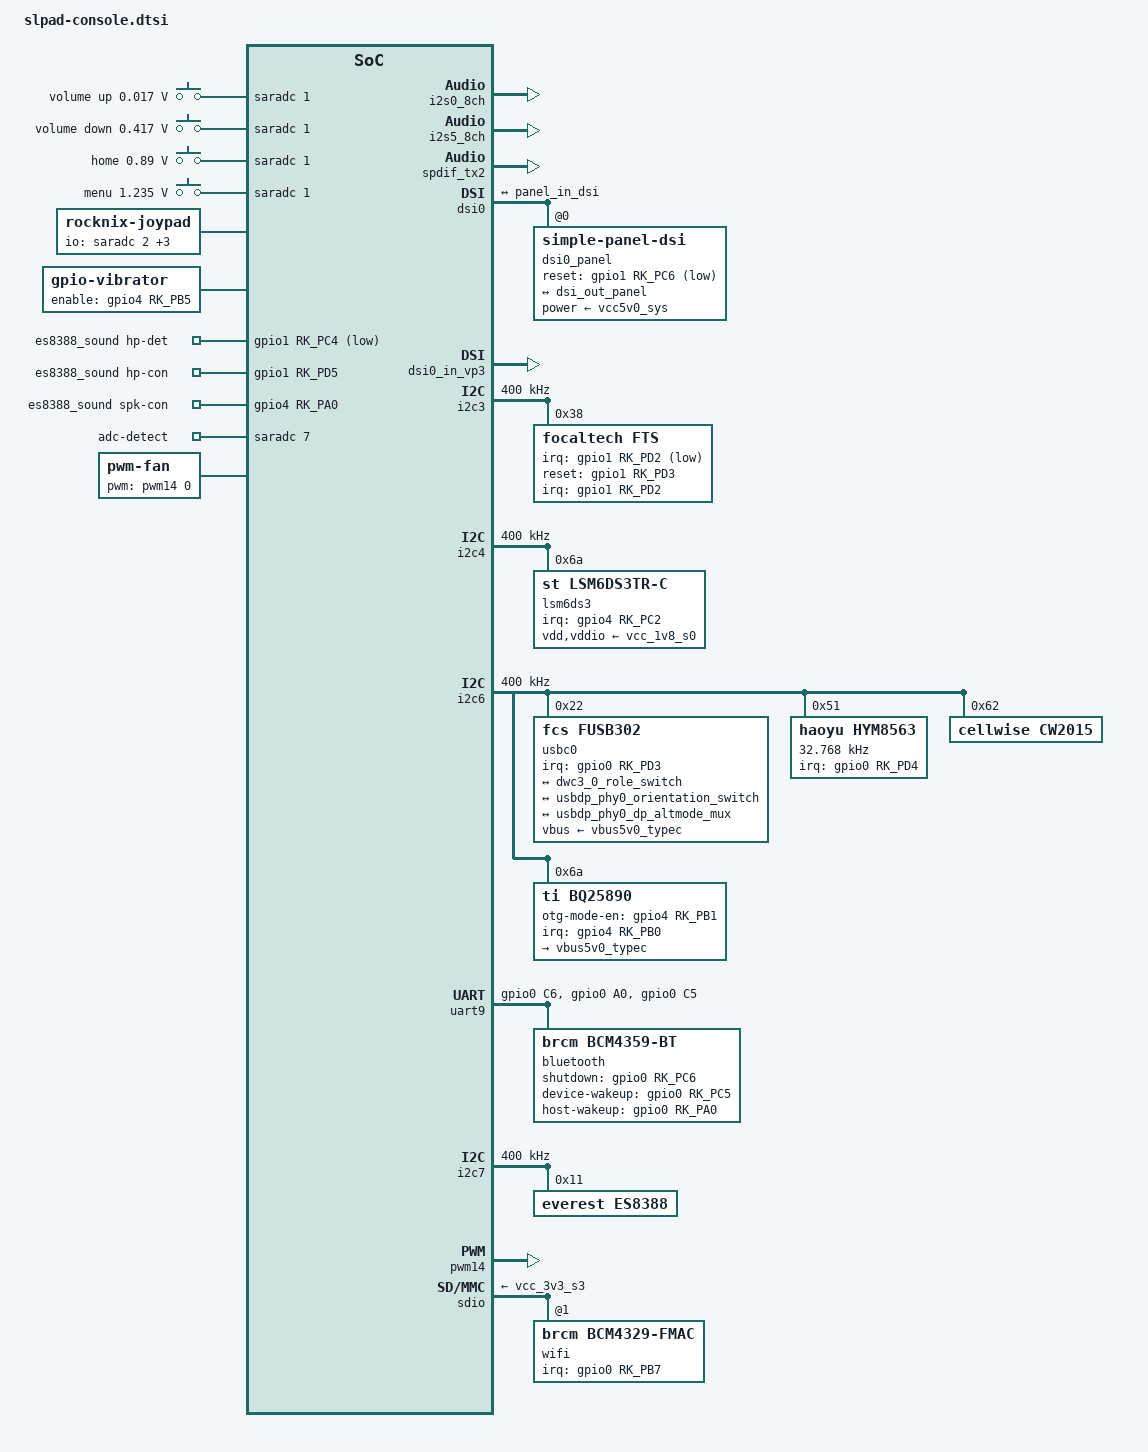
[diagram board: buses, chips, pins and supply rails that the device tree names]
// SPDX-License-Identifier: (GPL-2.0+ OR MIT)
/* SLPad console peripherals applied after the official 6.12 core. */
/ {
	adc_keys: adc-keys {
		compatible = "adc-keys";
		io-channels = <&saradc 1>;
		io-channel-names = "buttons";
		keyup-threshold-microvolt = <1800000>;
		poll-interval = <100>;

		vol-up-key {
			label = "volume up";
			linux,code = <KEY_VOLUMEUP>;
			press-threshold-microvolt = <17000>;
		};

		vol-down-key {
			label = "volume down";
			linux,code = <KEY_VOLUMEDOWN>;
			press-threshold-microvolt = <417000>;
		};

		home-key {
			label = "home";
			linux,code = <BTN_MODE>;
			press-threshold-microvolt = <890000>;
		};

		menu-key {
			label = "menu";
			linux,code = <KEY_APPSELECT>;
			press-threshold-microvolt = <1235000>;
		};
	};
};

/ {
	joypad: slpad-joypad {
		compatible = "rocknix-joypad";
		poll-interval = <10>;
		status = "okay";

		joypad-name = "Microsoft X-Box 360 pad";
		joypad-vendor = <0x045e>;
		joypad-product = <0x028e>;
		joypad-revision = <0x0503>;

		/* Analog sticks */
		io-channels = <&saradc 2>, <&saradc 3>, <&saradc 4>, <&saradc 5>;
		io-channel-names = "key-X", "key-Y", "key-RX", "key-RY";
		button-adc-scale = <4>;
		button-adc-deadzone = <150>;
		button-adc-fuzz = <32>;
		button-adc-flat = <32>;
		abs_x-p-tuning = <350>;
		abs_x-n-tuning = <350>;
		abs_y-p-tuning = <350>;
		abs_y-n-tuning = <350>;
		abs_rx-p-tuning = <350>;
		abs_rx-n-tuning = <350>;
		abs_ry-p-tuning = <350>;
		abs_ry-n-tuning = <350>;
		invert-absx;
		invert-absy;

		/* gpio pincontrol setup */
		pinctrl-names = "default";
		pinctrl-0 = <&btn_pins>;

		/* gpio button auto repeat set value : default disable */
		/*
			autorepeat;
		*/

		/*
						*** SLPad switch layout ***
		|-------------------------------------------------------|
		| sw15(b4) sw21(b6)                   sw20(b7) sw16(b5) |
		|-------------------------------------------------------|
		|        sw19(b12)|-------------------| sw22(b13)       |
		|                 |                   |                 |
		|     sw1(b8)     |                   |     sw8(b2)     |
		|sw3(b10) sw4(b11)|   OLED Display    | sw7(b3) sw5(b1) |
		|     sw2(b9)     |                   |     sw6(b0)     |
		|    sw11(b14)    |                   |    sw12(b15)    |
		|  menu(sys)      |-------------------|      home(sys)  |
		|                                                       |
		|-------------------------------------------------------|
		*/

		sw1 {
				gpios = <&gpio3 RK_PB0 GPIO_ACTIVE_LOW>;
				label = "GPIO DPAD-UP";
				linux,code = <ABS_HAT0Y>;
				linux,input-type = <EV_ABS>;
				linux,input-value = <0xffffffff>; /* -1 */
		};
		sw2 {
				gpios = <&gpio3 RK_PB1 GPIO_ACTIVE_LOW>;
				label = "GPIO DPAD-DOWN";
				linux,code = <ABS_HAT0Y>;
				linux,input-type = <EV_ABS>;
				linux,input-value= <1>;
		};
		sw3 {
				gpios = <&gpio3 RK_PB2 GPIO_ACTIVE_LOW>;
				label = "GPIO DPAD-LEFT";
				linux,code = <ABS_HAT0X>;
				linux,input-type = <EV_ABS>;
				linux,input-value = <0xffffffff>; /* -1 */
		};
		sw4 {
				gpios = <&gpio3 RK_PB3 GPIO_ACTIVE_LOW>;
				label = "GPIO DPAD-RIGHT";
				linux,code = <ABS_HAT0X>;
				linux,input-type = <EV_ABS>;
				linux,input-value= <1>;
		};
		sw5 {
				gpios = <&gpio3 RK_PA1 GPIO_ACTIVE_LOW>;
				label = "GPIO KEY BTN-A";
				linux,code = <BTN_SOUTH>;
		};
		sw6 {
				gpios = <&gpio3 RK_PA0 GPIO_ACTIVE_LOW>;
				label = "GPIO BTN-B";
				linux,code = <BTN_EAST>;
		};
		sw7 {
				gpios = <&gpio3 RK_PA2 GPIO_ACTIVE_LOW>;
				label = "GPIO BTN-Y";
				linux,code = <BTN_WEST>;
		};
		sw8 {
				gpios = <&gpio3 RK_PA3 GPIO_ACTIVE_LOW>;
				label = "GPIO BTN-X";
				linux,code = <BTN_NORTH>;
		};
		sw11 {
				gpios = <&gpio3 RK_PA6 GPIO_ACTIVE_HIGH>;
				label = "GPIO BTN-THUMBR";
				linux,code = <BTN_THUMBR>;
		};
		sw12 {
				gpios = <&gpio3 RK_PB6 GPIO_ACTIVE_HIGH>;
				label = "GPIO BTN-THUMBL";
				linux,code = <BTN_THUMBL>;
		};
		sw15 {
				gpios = <&gpio3 RK_PB4 GPIO_ACTIVE_LOW>;
				label = "GPIO BTN-L";
				linux,code = <BTN_TL>;
		};
		sw16 {
				gpios = <&gpio3 RK_PA4 GPIO_ACTIVE_LOW>;
				label = "GPIO BTN-R";
				linux,code = <BTN_TR>;
		};
		sw19 {
				gpios = <&gpio3 RK_PB7 GPIO_ACTIVE_LOW>;
				label = "GPIO BTN-SELECT";
				linux,code = <BTN_SELECT>;
		};
		sw20 {
				gpios = <&gpio3 RK_PA5 GPIO_ACTIVE_LOW>;
				label = "GPIO BTN-ZR";
				linux,code = <ABS_RZ>;
				linux,input-type = <EV_ABS>;
				linux,input-value= <255>;
		};
		sw21 {
				gpios = <&gpio3 RK_PB5 GPIO_ACTIVE_LOW>;
				label = "GPIO BTN-ZL";
				linux,code = <ABS_Z>;
				linux,input-type = <EV_ABS>;
				linux,input-value= <255>;
		};
		sw22 {
				gpios = <&gpio3 RK_PA7 GPIO_ACTIVE_LOW>;
				label = "GPIO BTN-START";
				linux,code = <BTN_START>;
		};
	};
};

/ {
	vibrator {
		compatible = "gpio-vibrator";
		status = "okay";
		enable-gpios = <&gpio4 RK_PB5 GPIO_ACTIVE_HIGH>;
	};
};

/ {
	es8388_sound: es8388-sound {
		status = "okay";
		compatible = "rockchip,multicodecs-card";
		rockchip,card-name = "rockchip-es8388";
		hp-det-gpio = <&gpio1 RK_PC4 GPIO_ACTIVE_LOW>;
		io-channels = <&saradc 7>;
		io-channel-names = "adc-detect";
		keyup-threshold-microvolt = <1800000>;
		poll-interval = <100>;

		hp-con-gpio = <&gpio1 RK_PD5 GPIO_ACTIVE_HIGH>;
		/* User-confirmed AW8733: complete BSP one-wire mode 3 on GPIO4_A0. */
		spk-con-gpio = <&gpio4 RK_PA0 GPIO_ACTIVE_HIGH>;
		rockchip,aw8733-mode = <3>;
		rockchip,format = "i2s";
		rockchip,mclk-fs = <256>;
		rockchip,cpu = <&i2s0_8ch>;
		rockchip,codec = <&es8388>;
		rockchip,audio-routing =
			"Headphone", "LOUT1",
			"Headphone", "ROUT1",
			"Speaker", "LOUT2",
			"Speaker", "ROUT2",
			"Headphone", "Headphone Power",
			"Headphone", "Headphone Power",
			"Speaker", "Speaker Power",
			"Speaker", "Speaker Power",
			"LINPUT1", "Main Mic",
			"LINPUT2", "Main Mic",
			"RINPUT1", "Headset Mic",
			"RINPUT2", "Headset Mic";
		pinctrl-names = "default";
		pinctrl-0 = <&hp_det>;
		play-pause-key {
			label = "playpause";
			linux,code = <KEY_PLAYPAUSE>;
			press-threshold-microvolt = <2000>;
		};
	};
};

/ {
	fan: pwm-fan {
		compatible = "pwm-fan";
		#cooling-cells = <2>;
		pwms = <&pwm14 0 50000 0>;
		cooling-levels = <0 70 130 180 200 255>;
	};
};

/ {
	hdmi0_sound: hdmi0-sound {
		status = "okay";
		compatible = "rockchip,hdmi";
		rockchip,mclk-fs = <128>;
		rockchip,card-name = "rockchip-hdmi0";
		rockchip,cpu = <&i2s5_8ch>;
		rockchip,codec = <&hdmi0>;
		rockchip,jack-det;
	};
};

/ {
	hdmi1_sound: hdmi1-sound {
		status = "disabled";
		compatible = "rockchip,hdmi";
		rockchip,mclk-fs = <128>;
		rockchip,card-name = "rockchip-hdmi1";
		rockchip,cpu = <&i2s6_8ch>;
		rockchip,codec = <&hdmi1>;
		rockchip,jack-det;
	};
};

/ {
	dp0_sound: dp0-sound {
		status = "okay";
		compatible = "rockchip,hdmi";
		rockchip,card-name= "rockchip,dp0";
		rockchip,mclk-fs = <512>;
		rockchip,cpu = <&spdif_tx2>;
		rockchip,codec = <&dp0 1>;
		rockchip,jack-det;
	};
};

/ {
	dp1_sound: dp1-sound {
		status = "disabled";
		compatible = "rockchip,hdmi";
		rockchip,card-name= "rockchip,dp1";
		rockchip,mclk-fs = <512>;
		rockchip,cpu = <&spdif_tx5>;
		rockchip,codec = <&dp1 1>;
		rockchip,jack-det;
	};
};

/ {
	spdif_tx0_dc: spdif-tx0-dc {
		status = "disabled";
		compatible = "linux,spdif-dit";
		#sound-dai-cells = <0>;
	};
};

/ {
	spdif_tx0_sound: spdif-tx0-sound {
		status = "disabled";
		compatible = "simple-audio-card";
		simple-audio-card,mclk-fs = <128>;
		simple-audio-card,name = "rockchip,spdif-tx0";
		simple-audio-card,cpu {
			sound-dai = <&spdif_tx0>;
		};
		simple-audio-card,codec {
			sound-dai = <&spdif_tx0_dc>;
		};
	};
};

/ {
	spdif_tx1_dc: spdif-tx1-dc {
		status = "disabled";
		compatible = "linux,spdif-dit";
		#sound-dai-cells = <0>;
	};
};

/ {
	spdif_tx1_sound: spdif-tx1-sound {
		status = "disabled";
		compatible = "simple-audio-card";
		simple-audio-card,mclk-fs = <128>;
		simple-audio-card,name = "rockchip,spdif-tx1";
		simple-audio-card,cpu {
			sound-dai = <&spdif_tx1>;
		};
		simple-audio-card,codec {
			sound-dai = <&spdif_tx1_dc>;
		};
	};
};

&i2s0_8ch {
	status = "okay";
	pinctrl-0 = <&i2s0_lrck
		     &i2s0_sclk
		     &i2s0_sdi0
		     &i2s0_sdo0>;
};

&i2s5_8ch {
	status = "okay";
};

&spdif_tx2 {
	status = "okay";
};

&dsi0 {
	status = "okay";
	//rockchip,lane-rate = <1000>;
	dsi0_panel: panel@0 {
		status = "okay";
		compatible = "simple-panel-dsi";
		reg = <0>;
		power-supply = <&vcc5v0_sys>;
		cmd_later_reset = <0>;
		//backlight = <&backlight>;

		reset-gpios = <&gpio1 RK_PC6 GPIO_ACTIVE_LOW>;

		pinctrl-names = "default";
		pinctrl-0 = <&lcd_rst_gpio>;
		reset-delay-ms = <20>;
		init-delay-ms = <20>;
		enable-delay-ms = <120>;
		prepare-delay-ms = <120>;
		unprepare-delay-ms = <10>;
		disable-delay-ms = <60>;
		width-mm = <121>;
		height-mm = <68>;
		dsi,flags = <(MIPI_DSI_MODE_VIDEO | MIPI_DSI_MODE_VIDEO_BURST |
			MIPI_DSI_MODE_LPM)>;
		dsi,format = <MIPI_DSI_FMT_RGB888>;
		dsi,lanes  = <4>;
		panel-init-sequence = [
			15 00 02 FE 0E
			15 00 02 4B 00
			15 00 02 4C 0F
			15 00 02 4D 20
			15 00 02 4E 40
			15 00 02 4F 60
			15 00 02 50 A0
			15 00 02 51 C0
			15 00 02 52 E0
			15 00 02 53 FF

			15 00 02 FE 0D
			15 00 02 18 08
			15 00 02 42 01
			15 00 02 08 41
			15 00 02 46 02
			15 00 02 72 09

			15 00 02 FE 0A
			15 00 02 24 17
			15 00 02 04 07
			15 00 02 1A 0C
			15 00 02 0F 44

			15 00 02 FE 04
			15 00 02 00 0C
			15 00 02 0A E6
			15 00 02 0B 8C
			15 00 02 1A 12
			15 00 02 29 93
			15 00 02 2A 93
			15 00 02 2F 02
			15 00 02 31 02
			15 00 02 33 05
			15 00 02 37 2D
			15 00 02 38 3D
			15 00 02 3A 1E
			15 00 02 3B 1E
			15 00 02 3D 27
			15 00 02 3F 80
			15 00 02 40 40
			15 00 02 41 E0
			15 00 02 4F 3F
			15 00 02 50 1E

			15 00 02 FE 06
			15 00 02 00 CC
			15 00 02 05 05
			15 00 02 07 A2
			15 00 02 08 CC
			15 00 02 0D 03
			15 00 02 0F A2
			15 00 02 32 CC
			15 00 02 37 05
			15 00 02 39 83
			15 00 02 3A CC
			15 00 02 41 04
			15 00 02 43 83
			15 00 02 44 CC
			15 00 02 49 05
			15 00 02 4B A2
			15 00 02 4C CC
			15 00 02 51 03
			15 00 02 4B A2
			15 00 02 4C CC
			15 00 02 51 03
			15 00 02 53 A2
			15 00 02 75 CC
			15 00 02 7A 03
			15 00 02 7C 83
			15 00 02 7D CC
			15 00 02 82 02
			15 00 02 84 83
			15 00 02 85 EC
			15 00 02 86 0F
			15 00 02 87 FF
			15 00 02 88 00
			15 00 02 8A 02
			15 00 02 8C A2
			15 00 02 8D EA
			15 00 02 8E 01
			15 00 02 8F E8
			15 00 02 90 0A
			15 00 02 92 06
			15 00 02 93 A0
			15 00 02 94 A8
			15 00 02 95 EC
			15 00 02 96 0F
			15 00 02 97 FF
			15 00 02 98 00
			15 00 02 9A 02
			15 00 02 9C A2
			15 00 02 AC 04
			15 00 02 B1 12
			15 00 02 B2 17
			15 00 02 B3 17
			15 00 02 B4 17
			15 00 02 B5 17
			15 00 02 B6 11
			15 00 02 B7 08
			15 00 02 B8 09
			15 00 02 B9 06
			15 00 02 BA 07
			15 00 02 BB 17
			15 00 02 BC 17
			15 00 02 BD 17
			15 00 02 BE 17
			15 00 02 BF 17
			15 00 02 C0 17
			15 00 02 C1 17
			15 00 02 C2 17
			15 00 02 C3 17
			15 00 02 C4 0F
			15 00 02 C5 0E
			15 00 02 C6 00
			15 00 02 C7 01
			15 00 02 C8 10

			15 00 02 FE 00
			15 00 02 C2 08
			15 00 02 35 00
			39 00 03 44 03 80

			15 00 02 51 FF

			05 78 01 11
			05 64 01 29
		];

		panel-exit-sequence = [
			05 00 01 28
			05 00 01 10
		];

		disp_timings0: display-timings {
			native-mode = <&dsi0_timing0>;
			dsi0_timing0: timing0 {
				clock-frequency = <135000000>;
				hactive = <1080>;
				vactive = <1920>;
				hback-porch = <36>;
				hfront-porch = <26>;
				vback-porch = <16>;
				vfront-porch = <8>;
				hsync-len = <2>;
				vsync-len = <4>;
                hsync-active = <0>;
                vsync-active = <0>;
                de-active = <0>;
                pixelclk-active = <0>;
			};
		};

		ports {
			#address-cells = <1>;
			#size-cells = <0>;

			port@0 {
				reg = <0>;
				panel_in_dsi: endpoint {
					remote-endpoint = <&dsi_out_panel>;
				};
			};
		};
	};

	ports {
		#address-cells = <1>;
		#size-cells = <0>;

		port@1 {
			reg = <1>;
			dsi_out_panel: endpoint {
				remote-endpoint = <&panel_in_dsi>;
			};
		};
	};

};

&dsi0_in_vp3 {
	status = "okay";
};

&i2c3 {
	status = "okay";
	clock-frequency = <400000>;
	focaltech@38 {
		status = "okay";
		compatible = "focaltech,fts";
		reg = <0x38>;

		interrupt-parent = <&gpio1>;
		interrupts = <RK_PD2 IRQ_TYPE_EDGE_FALLING>;

		pinctrl-names = "default";
		pinctrl-0 = <&tp_gpio>;

		focaltech,irq-gpio = <&gpio1 RK_PD2 GPIO_ACTIVE_LOW>;
		focaltech,reset-gpio = <&gpio1 RK_PD3 GPIO_ACTIVE_HIGH>;
		focaltech,max-touch-number = <6>;
		focaltech,display-coords =  <0 0 1079 1919>;
		touchscreen-inverted-x;
		touchscreen-inverted-y;
	};
};

&i2c4 {
	status = "okay";
	clock-frequency = <400000>;
	pinctrl-names = "default";
	pinctrl-0 = <&i2c4m1_xfer>;

	lsm6ds3@6a {
		compatible = "st,lsm6ds3tr-c";
		status = "okay";
		reg = <0x6a>;
		interrupt-parent = <&gpio4>;
		interrupts = <RK_PC2 IRQ_TYPE_LEVEL_HIGH>;
		pinctrl-names = "default";
		pinctrl-0 = <&gyr_int_l>;
		vdd-supply = <&vcc_1v8_s0>;
		vddio-supply = <&vcc_1v8_s0>;
		st,drdy-int-pin = <1>;
		/* Standard IIO driver replaces the Android sensor HAL. */
	};
};

&i2c6 {
	status = "okay";
	clock-frequency = <400000>;
	usbc0: fusb302@22 {
		compatible = "fcs,fusb302";
		reg = <0x22>;
		interrupt-parent = <&gpio0>;
		interrupts = <RK_PD3 IRQ_TYPE_LEVEL_LOW>;
		pinctrl-names = "default";
		pinctrl-0 = <&usbc0_int>;
		vbus-supply = <&vbus5v0_typec>;
		charge-dev = <&bq25890>;
		status = "okay";

		ports {
			#address-cells = <1>;
			#size-cells = <0>;

			port@0 {
				reg = <0>;
				usbc0_role_sw: endpoint {
					remote-endpoint = <&dwc3_0_role_switch>;
				};
			};
		};

		usb_con: connector {
			compatible = "usb-c-connector";
			label = "USB-C";
			data-role = "dual";
			power-role = "dual";
			try-power-role = "sink";
			op-sink-microwatt = <1000000>;
			sink-pdos =
				<PDO_FIXED(5000, 3000, PDO_FIXED_USB_COMM)
				 PDO_FIXED(9000, 3000, PDO_FIXED_USB_COMM)
				 PDO_FIXED(12000, 3000, PDO_FIXED_USB_COMM)>;
			source-pdos =
				<PDO_FIXED(5000, 3000, PDO_FIXED_USB_COMM)>;

			altmodes {
				#address-cells = <1>;
				#size-cells = <0>;

				altmode@0 {
					reg = <0>;
					mode-switch;
					vdo = <0xffffffff>;
				};
			};

			ports {
				#address-cells = <1>;
				#size-cells = <0>;

				port@0 {
					reg = <0>;
					usbc0_orien_sw: endpoint {
						remote-endpoint = <&usbdp_phy0_orientation_switch>;
					};
				};

				port@1 {
					reg = <1>;
					dp_altmode_mux: endpoint {
						remote-endpoint = <&usbdp_phy0_dp_altmode_mux>;
					};
				};
			};
		};
	};

	hym8563: hym8563@51 {
		status = "okay";
		compatible = "haoyu,hym8563";
		reg = <0x51>;
		#clock-cells = <0>;
		clock-frequency = <32768>;
		clock-output-names = "hym8563";
		pinctrl-names = "default";
		pinctrl-0 = <&hym8563_int>;
		interrupt-parent = <&gpio0>;
		interrupts = <RK_PD4 IRQ_TYPE_LEVEL_LOW>;
		wakeup-source;
	};

	cw2015@62 {
		status = "okay";
		compatible = "cellwise,cw2015";
		reg = <0x62>;
		cellwise,battery-profile = /bits/ 8
			<0x18 0x0A 0x68 0x68 0x6B 0x6B 0x69 0x67
			 0x63 0x61 0x5E 0x61 0x5E 0x53 0x46 0x3F
			 0x36 0x30 0x29 0x26 0x2C 0x37 0x44 0x4E
			 0x1E 0x6F 0x0A 0x3E 0x18 0x31 0x52 0x60
			 0x6F 0x6E 0x6E 0x70 0x3E 0x1B 0x6E 0x5F
			 0x0B 0x2F 0x21 0x4F 0x89 0x92 0x96 0x1B
			 0x49 0x69 0x9D 0xBC 0x80 0x5C 0x7F 0xCB
			 0x2F 0x00 0x64 0xA5 0xB5 0xC1 0x46 0xAE>;
		cellwise,monitor-interval-ms = <5000>;
		power-supplies = <&bq25890>;
	};

	bq25890: charger@6a {
		status = "okay";
		compatible = "ti,bq25890";
		reg = <0x6a>;
		pinctrl-names = "default";
		pinctrl-0 = <&charger_ok>;
		interrupt-parent = <&gpio4>;
		interrupts = <RK_PB0 IRQ_TYPE_EDGE_FALLING>;
		otg-mode-en-gpios = <&gpio4 RK_PB1 GPIO_ACTIVE_HIGH>;
		ti,usb-charger-detection = <&usbc0>;

		ti,battery-regulation-voltage = <4400000>; /* 4.4V */
		ti,charge-current = <5000000>; /* 5A */
		ti,termination-current = <66000>;  /* 66mA */
		ti,precharge-current = <130000>; /* 130mA */
		ti,minimum-sys-voltage = <3800000>; /* 3.8V */
		ti,boost-voltage = <5000000>; /* 5V */
		ti,boost-max-current = <2000000>; /* 2000mA */
		regulators {
			vbus5v0_typec: vbus5v0-typec {
				regulator-compatible = "otg-vbus";
				regulator-name = "vbus5v0_typec";
			};
		};
	};
};

&uart9 {
	status = "okay";
	pinctrl-names = "default";
	pinctrl-0 = <&uart9m0_xfer &uart9m0_ctsn &uart9m0_rtsn &bt_gpio>;
};

&i2c7 {
	status = "okay";
	clock-frequency = <400000>;
	es8388: es8388@11 {
		status = "okay";
		#sound-dai-cells = <0>;
		compatible = "everest,es8388";
		reg = <0x11>;
		clocks = <&mclkout_i2s0>;
		clock-names = "mclk";
		assigned-clocks = <&mclkout_i2s0>;
		assigned-clock-rates = <12288000>;
		pinctrl-names = "default";
		pinctrl-0 = <&i2s0_mclk>;
	};
};

&pinctrl {
	headphone {
		hp_det: hp-det {
			rockchip,pins = <1 RK_PC4 RK_FUNC_GPIO &pcfg_pull_up>;
		};
	};

	hym8563 {
		hym8563_int: hym8563-int {
			rockchip,pins = <0 RK_PB0 RK_FUNC_GPIO &pcfg_pull_up>;
		};
	};

	charger {
		charger_ok: charger_ok {
			rockchip,pins = <4 RK_PB0 RK_FUNC_GPIO &pcfg_pull_up>;
		};
	};

	wireless-bluetooth {
        uart9_gpios: uart9-gpios {
            rockchip,pins = <4 RK_PC4 RK_FUNC_GPIO &pcfg_pull_none>;
        };

        bt_gpio: bt-gpio {
            rockchip,pins =
					<0 RK_PC6 RK_FUNC_GPIO &pcfg_pull_none>,
					<0 RK_PA0 RK_FUNC_GPIO &pcfg_pull_down>,
					<0 RK_PC5 RK_FUNC_GPIO &pcfg_pull_up>;
        };
	};

	sdio-pwrseq {
		wifi_enable_h: wifi-enable-h {
			rockchip,pins = <0 RK_PC4 RK_FUNC_GPIO &pcfg_pull_up>;
		};
	};



	lsm6ds3 {
		gyr_int_l: gyr-int-l {
			rockchip,pins = <4 RK_PC2 RK_FUNC_GPIO &pcfg_pull_none>;
		};
	};

	btns {
		btn_pins: btn-pins {
			rockchip,pins = <3 RK_PA0 RK_FUNC_GPIO &pcfg_pull_up>,
					<3 RK_PA1 RK_FUNC_GPIO &pcfg_pull_up>,
					<3 RK_PA2 RK_FUNC_GPIO &pcfg_pull_up>,
					<3 RK_PA3 RK_FUNC_GPIO &pcfg_pull_up>,
					<3 RK_PA4 RK_FUNC_GPIO &pcfg_pull_up>,
					<3 RK_PA5 RK_FUNC_GPIO &pcfg_pull_up>,
					<3 RK_PA6 RK_FUNC_GPIO &pcfg_pull_down>,
					<3 RK_PA7 RK_FUNC_GPIO &pcfg_pull_up>,
					<3 RK_PB0 RK_FUNC_GPIO &pcfg_pull_up>,
					<3 RK_PB1 RK_FUNC_GPIO &pcfg_pull_up>,
					<3 RK_PB2 RK_FUNC_GPIO &pcfg_pull_up>,
					<3 RK_PB3 RK_FUNC_GPIO &pcfg_pull_up>,
					<3 RK_PB4 RK_FUNC_GPIO &pcfg_pull_up>,
					<3 RK_PB5 RK_FUNC_GPIO &pcfg_pull_up>,
					<3 RK_PB6 RK_FUNC_GPIO &pcfg_pull_down>,
					<3 RK_PB7 RK_FUNC_GPIO &pcfg_pull_up>;
		};
	};
};

&pwm12 {
	status = "disabled";
	pinctrl-names = "active";
	pinctrl-0 = <&pwm12m1_pins>;
};

&pwm14 {
	status = "okay";
	pinctrl-names = "active";
	pinctrl-0 = <&pwm14m1_pins>;
};

&uart9 {
 bluetooth {
  compatible = "brcm,bcm4359-bt";
  shutdown-gpios = <&gpio0 RK_PC6 GPIO_ACTIVE_HIGH>;
  device-wakeup-gpios = <&gpio0 RK_PC5 GPIO_ACTIVE_HIGH>;
  host-wakeup-gpios = <&gpio0 RK_PA0 GPIO_ACTIVE_HIGH>;
  max-speed = <1500000>;
  clocks = <&hym8563>;
  clock-names = "lpo";
 };
};

&sdio {
 vmmc-supply = <&vcc_3v3_s3>;
 vqmmc-supply = <&vcc_1v8_s3>;
 #address-cells = <1>;
 #size-cells = <0>;
 wifi@1 {
  compatible = "brcm,bcm4329-fmac";
  reg = <1>;
  interrupt-parent = <&gpio0>;
  interrupts = <RK_PB7 IRQ_TYPE_LEVEL_HIGH>;
  interrupt-names = "host-wake";
 };
};

&pinctrl {
 slpad-touch {
  tp_gpio: tp-gpio {
   rockchip,pins = <1 RK_PD2 RK_FUNC_GPIO &pcfg_pull_none>, <1 RK_PD3 RK_FUNC_GPIO &pcfg_pull_up>;
  };
 };
 slpad-lcd {
  lcd_rst_gpio: lcd-rst-gpio {
   rockchip,pins = <1 RK_PC6 RK_FUNC_GPIO &pcfg_pull_none>;
  };
 };
 slpad-led {
  spi0usr_pins: spi0usr-pins {
   rockchip,pins = <4 RK_PA2 8 &pcfg_pull_up_drv_level_6>, <4 RK_PA1 8 &pcfg_pull_up_drv_level_6>;
  };
 };
 slpad-typec {
  usbc0_int: usbc0-int {
   rockchip,pins = <0 RK_PD3 RK_FUNC_GPIO &pcfg_pull_up>;
  };
 };
 slpad-wifi {
  wifi_host_wake_irq: wifi-host-wake-irq {
   rockchip,pins = <0 RK_PB7 RK_FUNC_GPIO &pcfg_pull_down>;
  };
 };
};

&soc_thermal {
 trips {
  slpad_fan1: fan-trip-1 { temperature = <45000>; hysteresis = <2000>; type = "active"; };
  slpad_fan2: fan-trip-2 { temperature = <50000>; hysteresis = <2000>; type = "active"; };
  slpad_fan3: fan-trip-3 { temperature = <55000>; hysteresis = <2000>; type = "active"; };
  slpad_fan4: fan-trip-4 { temperature = <60000>; hysteresis = <2000>; type = "active"; };
  slpad_fan5: fan-trip-5 { temperature = <65000>; hysteresis = <2000>; type = "active"; };
 };
 cooling-maps {
  fan-map-1 { trip = <&slpad_fan1>; cooling-device = <&fan 1 1>; };
  fan-map-2 { trip = <&slpad_fan2>; cooling-device = <&fan 2 2>; };
  fan-map-3 { trip = <&slpad_fan3>; cooling-device = <&fan 3 3>; };
  fan-map-4 { trip = <&slpad_fan4>; cooling-device = <&fan 4 4>; };
  fan-map-5 { trip = <&slpad_fan5>; cooling-device = <&fan 5 5>; };
 };
};
